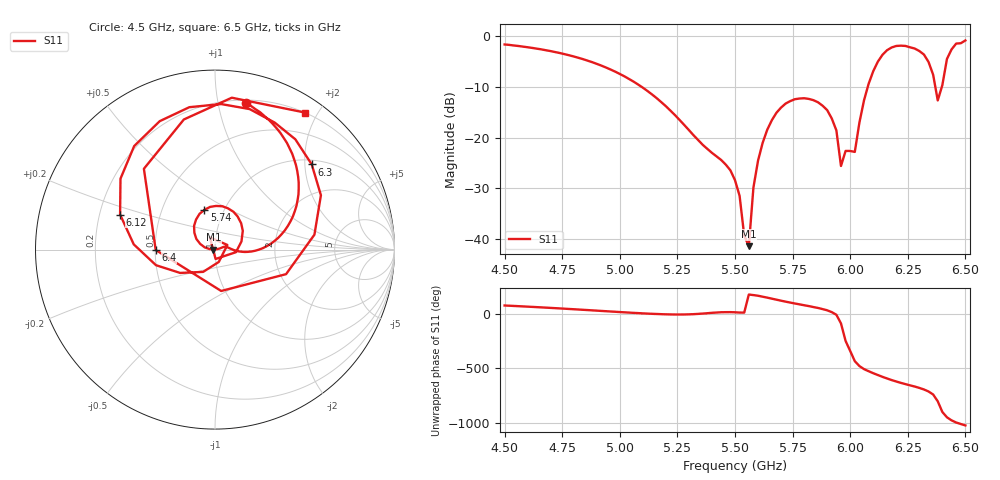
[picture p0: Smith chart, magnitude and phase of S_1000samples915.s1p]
! TOUCHSTONE file generated by CST MICROWAVE STUDIO
! Date and time: Sat Oct 29 19:07:16 2022
! Project name: L.cst
! Parameters = {Di=1.27; Epsilon_r=1.56; InnerDiameter=1.27; Length=2; Lf=10; Lg=60; OuterConductorThickness=0.2921; OuterDiameter=3.6; Wf=3; Wp=41.2; de=1.5; df=6.8; g=0.8; gx=2.30885; gy=3.67815; h=2.34; hf=1.524; px=14.3217; py=8.42636; w=9.7; wx=12.0128; wy=4.74822}
! Header version: 2018
! Port assignment regex: !\s*Touchstone port\s*([0-9]+)\s*=\s*(CST MWS port|CST DS port)\s*([0-9]+|Zmin|Zmax)\s*\(\"(.*)\"\)(\s*mode\s*([0-9]+))?.*
! Touchstone port assignment:
! Touchstone port 1 = CST MWS port 1 ("")
# GHz S DB R 50
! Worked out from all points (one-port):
!   101 points, 4.5 GHz to 6.5 GHz, reference 50 ohm
!   lowest |S11| = -41.5 dB at 5.56 GHz (marker M1), VSWR 1.02, Z = 49.2 + j0.0194 ohm
!   |S11| at or under -10 dB: 5.096 GHz to 6.076 GHz (980.4 MHz wide, 17.6 % of centre); 6.369594 GHz to 6.397493 GHz (27.9 MHz wide, 0.437 % of centre)
!   S11 on the Smith chart (normalised r, x): 4.5 GHz: 0.23, +1.21; 5.74 GHz: 0.81, +0.38; 6.12 GHz: 0.29, +0.16; 6.3 GHz: 1.11, +2.17; 6.4 GHz: 0.50, -0.00; 6.5 GHz: 0.20, +1.84
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4.5  -1.58 78.1
4.76  -3.49 48.8
5  -7.42 17.9
5.26  -16.55 -4.6
5.5  -28.44 15.8
5.54  -39.42 13.0
5.56  -41.50 178.7
5.58  -29.89 173.7
5.62  -21.05 158.9
5.74  -12.78 104.8
5.76  -12.41 96.4
5.9  -14.57 34.1
5.94  -18.58 -6.9
5.96  -25.63 -86.4
6  -22.66 20.6
6.02  -22.85 -73.0
6.06  -12.63 -146.2
6.12  -4.98 159.8
6.16  -2.71 128.0
6.2  -1.87 100.2
6.26  -2.14 64.7
6.3  -2.88 41.4
6.36  -7.56 -19.1
6.38  -12.65 -81.5
6.4  -9.62 -179.7
6.42  -4.44 131.3
6.44  -2.55 103.5
6.5  -0.78 56.7
